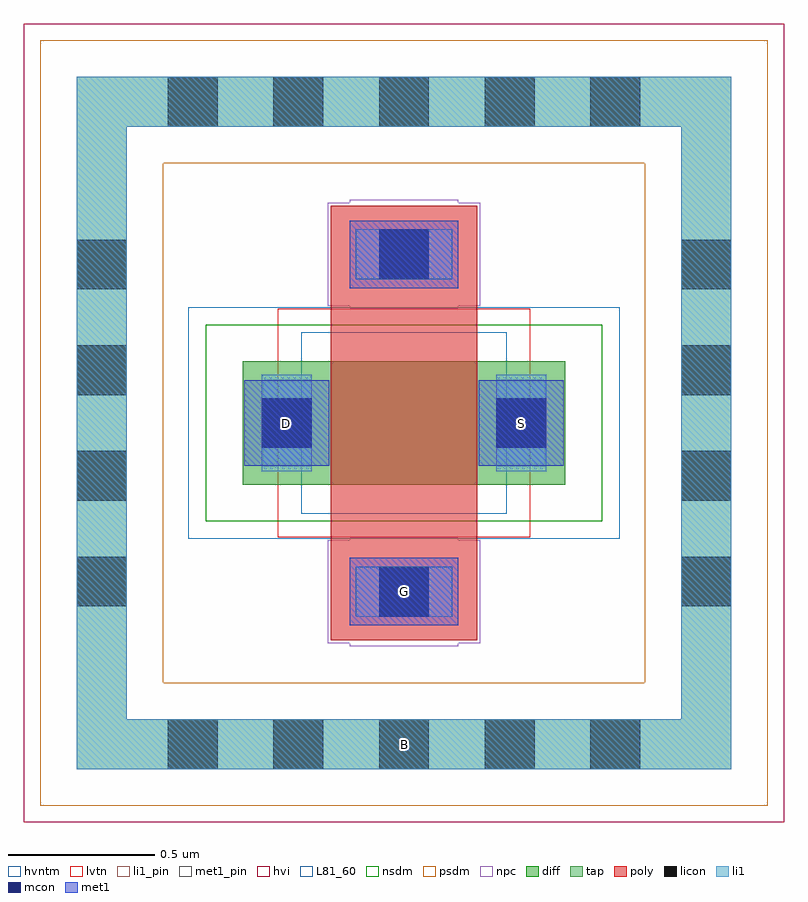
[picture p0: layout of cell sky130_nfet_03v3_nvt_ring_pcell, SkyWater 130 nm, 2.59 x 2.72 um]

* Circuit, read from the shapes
.subckt sky130_nfet_03v3_nvt_ring_pcell B D G S
XM1 S G D B sky130_fd_pr__nfet_05v0_nvt w=0.42 l=0.5
.ends

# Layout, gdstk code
import gdstk
lib = gdstk.Library(unit=1e-6, precision=1e-09)
def R(c, l, rs):  # rectangles x0, y0, x1, y1
    for r in rs: c.add(gdstk.rectangle(r[:2], r[2:], *l))
def A(c, l, x, y, w, h, nx, ny, dx, dy):  # array of equal rectangles
    R(c, l, [(x+i*dx, y+j*dy, x+i*dx+w, y+j*dy+h) for i in range(nx) for j in range(ny)])
def P(c, l, *ps):  # polygons
    for p in ps: c.add(gdstk.Polygon(p, *l))
diff = (65, 20)
tap = (65, 44)
poly = (66, 20)
licon = (66, 44)
li1_pin = (67, 16)
li1 = (67, 20)
mcon = (67, 44)
met1_pin = (68, 16)
met1 = (68, 20)
hvi = (75, 20)
L81_60 = (81, 60)
nsdm = (93, 44)
psdm = (94, 20)
npc = (95, 20)
hvntm = (125, 20)
lvtn = (125, 44)

nfet = lib.new_cell('nfet')
R(nfet, diff, [(0,0,1.1,0.42)])
R(nfet, poly, [(0.3,-0.53,0.8,-0.2), (0.3,-0.2,0.8,0.62), (0.3,0.62,0.8,0.95)])
R(nfet, licon, [(0.465,-0.45,0.635,-0.28), (0.065,0.125,0.235,0.295), (0.865,0.125,1.035,0.295), (0.465,0.7,0.635,0.87)])
R(nfet, li1, [(0.385,-0.45,0.715,-0.28), (0.065,0.045,0.235,0.375), (0.865,0.045,1.035,0.375), (0.385,0.7,0.715,0.87)])
R(nfet, mcon, [(0.465,-0.45,0.635,-0.28), (0.065,0.125,0.235,0.295), (0.865,0.125,1.035,0.295), (0.465,0.7,0.635,0.87)])
R(nfet, met1, [(0.365,-0.48,0.735,-0.25), (0.005,0.065,0.295,0.355), (0.805,0.065,1.095,0.355), (0.365,0.67,0.735,0.9)])
R(nfet, hvi, [(-0.37,-0.725,1.47,1.145)])
R(nfet, L81_60, [(0.2,-0.1,0.9,0.52)])
R(nfet, nsdm, [(-0.125,-0.125,1.225,0.545)])
R(nfet, npc, [(0.29,-0.54,0.81,-0.19), (0.29,0.61,0.81,0.96)])
R(nfet, hvntm, [(-0.185,-0.185,1.285,0.605)])
R(nfet, lvtn, [(0.12,-0.18,0.98,0.6)])

guard_ring_gen = lib.new_cell('guard_ring_gen')
P(guard_ring_gen, tap, [(-0.17,-0.17),(-0.17,2.02),(0,2.02),(0,0),(1.89,0),(1.89,2.02),(-0.17,2.02),(-0.17,2.19),(2.06,2.19),(2.06,-0.17)])
A(guard_ring_gen, licon, 0.14, -0.17, 0.17, 0.17, 5, 2, 0.36, 2.19)
A(guard_ring_gen, licon, -0.17, 0.385, 0.17, 0.17, 1, 4, 0, 0.36)
A(guard_ring_gen, licon, 1.89, 0.385, 0.17, 0.17, 1, 4, 0, 0.36)
P(guard_ring_gen, li1, [(-0.17,-0.17),(-0.17,2.02),(0,2.02),(0,0),(1.89,0),(1.89,2.02),(-0.17,2.02),(-0.17,2.19),(2.06,2.19),(2.06,-0.17)])
P(guard_ring_gen, psdm, [(-0.295,-0.295),(-0.295,1.895),(0.125,1.895),(0.125,0.125),(1.765,0.125),(1.765,1.895),(-0.295,1.895),(-0.295,2.315),(2.185,2.315),(2.185,-0.295)])

sky130_nfet_03v3_nvt_rin = lib.new_cell('sky130_nfet_03v3_nvt_ring_pcell')
R(sky130_nfet_03v3_nvt_rin, li1_pin, [(0.465,-0.97,0.635,-0.8)])
R(sky130_nfet_03v3_nvt_rin, met1_pin, [(0.465,-0.45,0.635,-0.28), (0.065,0.125,0.235,0.295), (0.865,0.125,1.035,0.295)])
R(sky130_nfet_03v3_nvt_rin, hvi, [(-0.745,-1.15,1.845,1.57)])
R(sky130_nfet_03v3_nvt_rin, npc, [(0.365,-0.55,0.735,-0.18), (0.365,0.6,0.735,0.97)])
sky130_nfet_03v3_nvt_rin.add(gdstk.Reference(nfet, (0,0)))
sky130_nfet_03v3_nvt_rin.add(gdstk.Reference(guard_ring_gen, (-0.395,-0.8)))
sky130_nfet_03v3_nvt_rin.add(gdstk.Label('D', (0.15,0.21), layer=68, texttype=5))
sky130_nfet_03v3_nvt_rin.add(gdstk.Label('S', (0.95,0.21), layer=68, texttype=5))
sky130_nfet_03v3_nvt_rin.add(gdstk.Label('G', (0.55,-0.365), layer=68, texttype=5))
sky130_nfet_03v3_nvt_rin.add(gdstk.Label('B', (0.55,-0.885), layer=67, texttype=5))

lib.write_gds('sky130_nfet_03v3_nvt_ring_pcell.gds')
